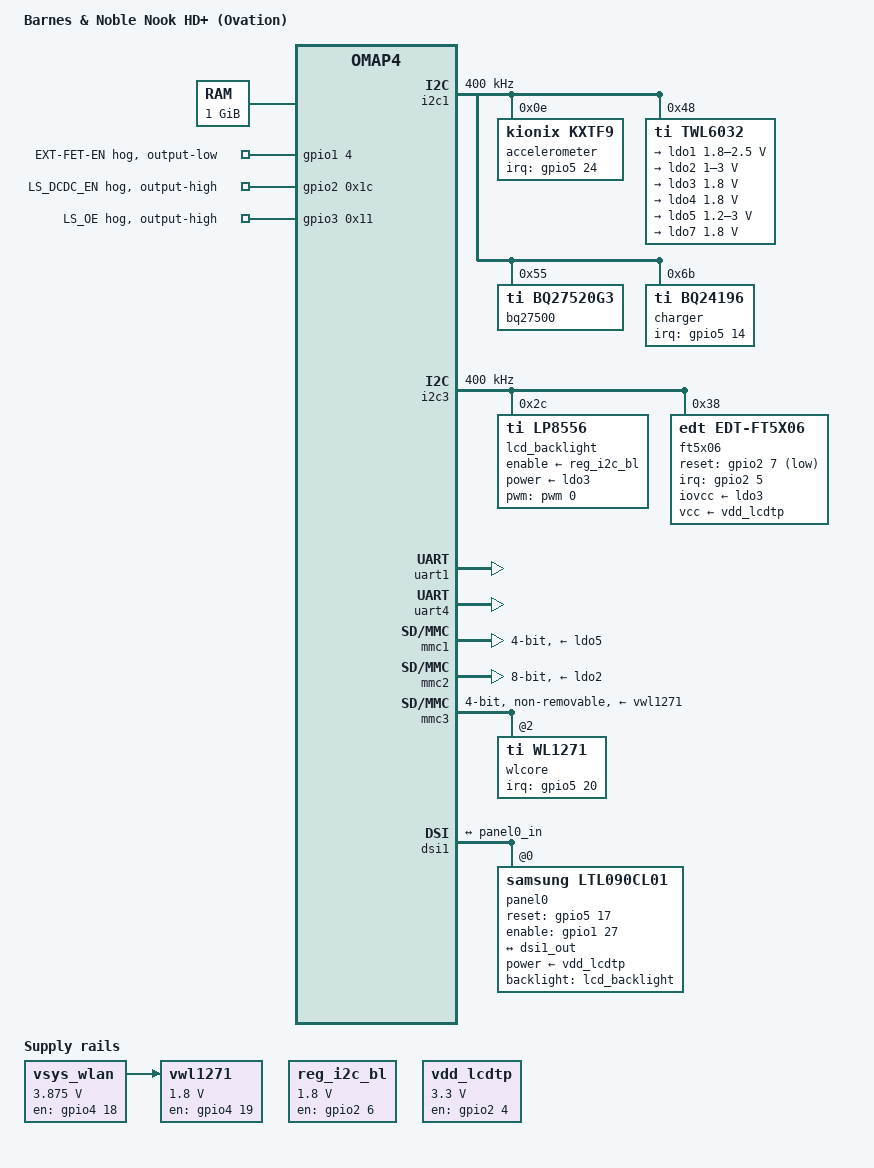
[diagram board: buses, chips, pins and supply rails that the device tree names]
// SPDX-License-Identifier: GPL-2.0-only
/*
 * Device Tree Source for Barnes & Noble Nook HD+ OMAP4470 Tablet
 */
/dts-v1/;

#include <dt-bindings/input/input.h>
#include "omap4470.dtsi"

/ {
	model = "Barnes & Noble Nook HD+ (Ovation)";
	compatible = "barnesnoble,ovation", "ti,omap4470", "ti,omap4";

	chosen {
		bootargs = "console=ttyS0,115200n8 earlyprintk ignore_loglevel root=/dev/ram0 rw init=/init omap_wdt.early_enable=1 omap_wdt.run_in_suspend=1 initrd=0x82000000,6323720";
		stdout-path = &uart1;
	};

	memory@80000000 {
		device_type = "memory";
		reg = <0x80000000 0x40000000>; /* 1GB RAM */
	};

	/* WLAN VSys Regulator */
	vsys_wlan: vsys-wlan {
		pinctrl-names = "default";
		pinctrl-0 = <&wlan_vbat_gpio_pins>;
		compatible = "regulator-fixed";
		regulator-name = "vsys-wlan";
		regulator-min-microvolt = <3875000>;
		regulator-max-microvolt = <3875000>;
		gpio = <&gpio4 18 0>;
		startup-delay-us = <200>;
		enable-active-high;
		regulator-boot-on;
		regulator-always-on;
	};

	/* WLAN Core Voltage Regulator */
	vwl1271: vwl1271 {
		pinctrl-names = "default";
		pinctrl-0 = <&wl12xx_gpio_pins>;
		compatible = "regulator-fixed";
		regulator-name = "vwl1271";
		regulator-min-microvolt = <1800000>;
		regulator-max-microvolt = <1800000>;
		startup-delay-us = <70000>;
		vin-supply = <&vsys_wlan>;
		gpio = <&gpio4 19 0>;
		enable-active-high;
	};

	/* WLAN Power Sequence */
	wl12xx_pwrseq: wl12xx-pwrseq {
		compatible = "mmc-pwrseq-simple";
		clocks = <&twl6032 0x00>;
		clock-names = "ext_clock";
		post-power-on-delay-ms = <100>;
	};

	/* LCD Touch Panel Power Regulator */
	reg_i2c_bl: regulator-i2c-backlight {
		compatible = "regulator-fixed";
		regulator-name = "reg_i2c_bl";
		regulator-min-microvolt = <1800000>;
		regulator-max-microvolt = <1800000>;
		pinctrl-names = "default";
		pinctrl-0 = <&reg_i2c_bl_pins>;
		gpio = <&gpio2 6 0>;
		enable-active-high;
	};

	/* LCD Display Voltage Regulator */
	vdd_lcdtp: vdd-lcdtp {
		compatible = "regulator-fixed";
		regulator-name = "vdd_lcdtp";
		regulator-min-microvolt = <3300000>;
		regulator-max-microvolt = <3300000>;
		pinctrl-names = "default";
		pinctrl-0 = <&reg_vdd_lcdtp_pins>;
		gpio = <&gpio2 4 0>;
		enable-active-high;
		regulator-boot-on;
		regulator-always-on;
	};

	/* TWL6032 PMIC I2C Pullup Configuration */
	i2c3_pullup: i2c3-pullup {
		compatible = "ti,omap4-i2c-pullup";
		syscon = <&omap4_padconf_global>;
		i2c-bus-id = <3>;
		pullups-disabled;
	};
};

&gpio1 {
	pinctrl-names = "default";
	pinctrl-0 = <&gpio1_hog_wkup_pins>;
	ti,no-reset-on-init;

	twl-ext-fet-disable-hog {
		gpio-hog;
		gpios = <4 GPIO_ACTIVE_HIGH>;
		output-low;
		line-name = "EXT-FET-EN";
	};
};

&gpio2 {
	pinctrl-names = "default";
	pinctrl-0 = <&gpio2_hog_pins>;
	ti,no-reset-on-init;

	LS_DCDC_EN {
		gpio-hog;
		gpios = <0x1c GPIO_ACTIVE_HIGH>;
		output-high;
		line-name = "LS_DCDC_EN";
	};
};

&gpio3 {
	pinctrl-names = "default";
	pinctrl-0 = <&gpio3_hog_pins>;
	ti,no-reset-on-init;

	LS_OE {
		gpio-hog;
		gpios = <0x11 GPIO_ACTIVE_HIGH>;
		output-high;
		line-name = "LS_OE";
	};
};

&gpio5 {
	ti,no-reset-on-init;
};

&omap4_pmx_wkup {
	gpio1_hog_wkup_pins: gpio1-hog-wkup-pins {
		pinctrl-single,pins = <0x08 0x03>;
	};

	twl6030_wkup_pins: twl6030-wkup-pins {
		pinctrl-single,pins = <0x14 0x02>;
	};
};

&omap4_pmx_core {
	pinctrl-names = "default";

	/* GPIO2 Hog - GPIO LED/Status */
	gpio2_hog_pins: gpio2-hog-pins {
		pinctrl-single,pins = <0x48 0x03>;
	};

	/* GPIO3 Hog */
	gpio3_hog_pins: gpio3-hog-pins {
		pinctrl-single,pins = <0x7c 0x03>;
	};

	/* UART1 Pins */
	pinmux_uart1_pins: pinmux-uart1-pins {
		pinctrl-single,pins = <0xe6 0x101 0xe8 0x01>;
	};

	/* UART4 Pins */
	uart4_pins: uart4-pins {
		pinctrl-single,pins = <0xd0 0x11d 0xd2 0x05 0x11c 0x100 0x11e 0x00>;
	};

	/* Bluetooth Pins */
	bt_pins: bt-pins {
		pinctrl-single,pins = <0x80 0x03>;
	};

	/* MMC1 SD Card */
	mmc1_pins: mmc1-pins {
		pinctrl-single,pins = <
			0xa2 0x118
			0xa4 0x118
			0xa6 0x118
			0xa8 0x118
			0xaa 0x118
			0xac 0x118
		>;
	};

	/* MMC2 eMMC */
	mmc2_pins: mmc2-pins {
		pinctrl-single,pins = <
			0x00 0x119
			0x02 0x119
			0x04 0x119
			0x06 0x119
			0x08 0x119
			0x0a 0x119
			0x0c 0x119
			0x0e 0x119
			0x42 0x119
			0x44 0x119
		>;
	};

	/* I2C1 for Touchscreen/Other */
	i2c1_pins: i2c1-pins {
		pinctrl-single,pins = <0xe2 0x118 0xe4 0x118>;
	};

	/* TWL Audio Pins */
	twl_audio_pins: twl-audio-pins {
		pinctrl-single,pins = <0xba 0x03>;
	};

	/* Accelerometer (KXTF9) */
	kxtf9_pins: kxtf9-pins {
		pinctrl-single,pins = <0x116 0x103>;
	};

	/* I2C3 for PMIC */
	i2c3_pins: i2c3-pins {
		pinctrl-single,pins = <0xea 0x118 0xec 0x118>;
	};

	/* DSI1 Pins */
	dsi1_pins: dsi1-pins {
		pinctrl-single,pins = <0x108 0x03 0x18e 0x03>;
	};

	/* Touchscreen Panel (FT5x06) */
	ft5x06_pins: ft5x06-pins {
		pinctrl-single,pins = <0x1a 0x103 0x1e 0x03>;
	};

	/* I2C Backlight Enable */
	reg_i2c_bl_pins: reg-i2c-bl-pins {
		pinctrl-single,pins = <0x1c 0x03>;
	};

	/* VDD LCDTP Enable */
	reg_vdd_lcdtp_pins: reg-vdd-lcdtp-pins {
		pinctrl-single,pins = <0x18 0x03>;
	};

	/* MMC3 WIFI */
	mmc3_pins: mmc3-pins {
		pinctrl-single,pins = <
			0xd8 0x119
			0xda 0x119
			0xdc 0x119
			0xde 0x119
			0xc2 0x119
			0xc4 0x119
		>;
	};

	/* WL1271 WIFI Ready */
	wl1271_pins: wl1271-pins {
		pinctrl-single,pins = <0x10e 0x103>;
	};

	/* WLAN GPIO */
	wl12xx_gpio_pins: wl12xx-gpio-pins {
		pinctrl-single,pins = <0xc0 0x03>;
	};

	/* WLAN VBAT GPIO */
	wlan_vbat_gpio_pins: wlan-vbat-gpio-pins {
		pinctrl-single,pins = <0xbe 0x03>;
	};

	/* TWL6030 IRQ */
	twl6030_pins: twl6030-pins {
		pinctrl-single,pins = <0x15e 0x4118>;
	};
};

/* I2C1 - Additional Sensors */
&i2c1 {
	pinctrl-names = "default";
	pinctrl-0 = <&i2c1_pins>;
	clock-frequency = <400000>;

	/* Accelerometer */
	accelerometer: accelerometer@e {
		compatible = "kionix,kxtf9";
		reg = <0x0e>;
		pinctrl-names = "default";
		pinctrl-0 = <&kxtf9_pins>;
		interrupt-parent = <&gpio5>;
		interrupts = <24 1>;
	};

	/* PMIC */
	twl6032: twl@48 {
		compatible = "ti,twl6032";
		reg = <0x48>;
		interrupts = <0 7 4>;
		interrupt-controller;
		#interrupt-cells = <1>;
		system-power-controller;
		#clock-cells = <1>;
		#address-cells = <0x01>;
		#size-cells = <0x00>;
		pinctrl-names = "default";
		pinctrl-0 = <&twl6030_pins &twl6030_wkup_pins>;

		rtc {
			compatible = "ti,twl4030-rtc";
			interrupts = <11>;
		};
	};

	/* Battery Gauge */
	bq27500@55 {
		status = "okay";
		compatible = "ti,bq27520g3";
		reg = <0x55>;
	};

	/* Battery Charger */
	charger@6b {
		status = "okay";
		compatible = "ti,bq24196";
		reg = <0x6b>;
		interrupt-parent = <&gpio5>;
		interrupts = <14 2>;
		omit-battery-class;
		ti,system-minimum-microvolt = <3400000>;
	};
};

&i2c2 {
	status = "disabled";
};

/* I2C3 - PMIC and Sensors */
&i2c3 {
	status = "okay";
	pinctrl-names = "default";
	pinctrl-0 = <&i2c3_pins>;
	clock-frequency = <400000>;

	/* LCD Backlight Controller */
	lcd_backlight: lcd-backlight@2c {
		compatible = "ti,lp8556";
		reg = <0x2c>;
		enable-supply = <&reg_i2c_bl>;
		power-supply = <&ldo3>;
		pwms = <&pwm 0 144592>;
		pwm-names = "lp8556";
		dev-ctrl = [02];
		init-brt = [3f];

		rom-a4h {
			rom-addr = [a4];
			rom-val = [02];
		};

		rom-a5h {
			rom-addr = [a5];
			rom-val = [14];
		};

		rom-a6h {
			rom-append;
			rom-addr = [a6];
			rom-val = [40];
			rom-mask = [3f];
		};

		rom-a7h {
			rom-addr = [a7];
			rom-val = [fd];
		};

		rom-a9h {
			rom-addr = [a9];
			rom-val = [80];
		};
	};

	/* Touchscreen Controller */
	ft5x06: touchscreen@38 {
		compatible = "edt,edt-ft5x06";
		reg = <0x38>;
		pinctrl-names = "default";
		pinctrl-0 = <&ft5x06_pins>;
		iovcc-supply = <&ldo3>;
		vcc-supply = <&vdd_lcdtp>;
		interrupt-parent = <&gpio2>;
		interrupts = <5 2>;
		reset-gpios = <&gpio2 7 1>;
		touchscreen-size-x = <1080>;
		touchscreen-size-y = <1920>;
		touchscreen-inverted-y;
		touchscreen-swapped-x-y;
	};
};

/* UART1 - Debug/Console */
&uart1 {
	pinctrl-names = "default";
	pinctrl-0 = <&pinmux_uart1_pins>;
	status = "okay";
};

/* UART3 - Bluetooth */
/*&uart3 {
	status = "okay";
	pinctrl-names = "default";
	pinctrl-0 = <&uart3_pins>;
};*/

/* UART4 */
&uart4 {
	status = "okay";
	pinctrl-names = "default";
	pinctrl-0 = <&uart4_pins>;
};

/* MMC1 - SD Card Slot */
&mmc1 {
	status = "okay";
	pinctrl-names = "default";
	pinctrl-0 = <&mmc1_pins>;
	vmmc-supply = <&ldo5>;
	mmc-ddr-1_8v;
	bus-width = <4>;
	broken-cd;
	no-sdio;
	no-mmc;
};

/* MMC2 - eMMC Storage */
&mmc2 {
	status = "okay";
	pinctrl-names = "default";
	pinctrl-0 = <&mmc2_pins>;
	vmmc-supply = <&ldo2>;
	ti,non-removable;
	cap-mmc-highspeed;
	mmc-ddr-1_8v;
	bus-width = <8>;
	no-sd;
	no-sdio;
};

/* MMC3 - WLAN Module */
&mmc3 {
	#address-cells = <0x01>;
	#size-cells = <0x00>;
	status = "okay";
	pinctrl-names = "default";
	pinctrl-0 = <&mmc3_pins>;
	vmmc-supply = <&vwl1271>;
	mmc-pwrseq = <&wl12xx_pwrseq>;
	no-sd;
	no-mmc;
	non-removable;
	cap-power-off-card;
	keep-power-in-suspend;
	bus-width = <4>;

	wlcore: wlcore@2 {
		compatible = "ti,wl1271";
		reg = <2>;
		pinctrl-names = "default";
		pinctrl-0 = <&wl1271_pins>;
		interrupt-parent = <&gpio5>;
		interrupts = <20 4>;
		interrupt-names = "irq";
		ref-clock-frequency = <38400000>;
		tcxo-clock-frequency = <38400000>;
	};
};

&mmc4 {
	status = "disabled";
};

&i2c4 {
	status = "disabled";
};

/*
 * WDT3 (IVA3 watchdog) only interrupts the MPU; its reset outputs are
 * unused. WDT2 is the one that resets the board.
 */
&wdt3 {
	status = "disabled";
};

/*
 * Suspend debugging: ti-sysc stops WDT2 when it idles the module in noirq
 * suspend, so without this a hang late in suspend or in resume is never
 * reset. Together with omap_wdt.run_in_suspend=1 in bootargs. Drop both once
 * suspend works.
 */
&{/ocp/interconnect@4a300000/segment@10000/target-module@4000} {
	ti,no-idle;
};

&twl6032 {
	compatible = "ti,twl6032";
	interrupts = <0 7 4>;
	interrupt-controller;
	#interrupt-cells = <1>;
	system-power-controller;
	#clock-cells = <1>;

	/* LDO1 - 1.8V for MMC Card */
	ldo1: regulator-ldo1 {
		compatible = "ti,twl6032-ldo1";
		// regulator-name = "ldo1";
		regulator-min-microvolt = <1800000>;
		regulator-max-microvolt = <2500000>;

		regulator-state-mem {
			regulator-off-in-suspend;
		};
	};

	/* LDO2 - Variable voltage supply */
	ldo2: regulator-ldo2 {
		compatible = "ti,twl6032-ldo2";
		// regulator-name = "ldo2";
		regulator-min-microvolt = <1000000>;
		regulator-max-microvolt = <3000000>;
		regulator-always-on;

		regulator-state-mem {
			regulator-off-in-suspend;
			regulator-ignore-initial-state;
		};
	};

	/* LDO3 - 1.8V Fixed */
	ldo3: regulator-ldo3 {
		compatible = "ti,twl6032-ldo3";
		// regulator-name = "ldo3";
		regulator-min-microvolt = <1800000>;
		regulator-max-microvolt = <1800000>;
		regulator-initial-state = <0>;
		regulator-boot-on;

		regulator-state-mem {
			regulator-off-in-suspend;
			regulator-ignore-initial-state;
		};
	};

	/* LDO4 - 1.8V for Sensor/Touch */
	ldo4: regulator-ldo4 {
		compatible = "ti,twl6032-ldo4";
		// regulator-name = "ldo4";
		regulator-min-microvolt = <1800000>;
		regulator-max-microvolt = <1800000>;

		regulator-state-mem {
			regulator-off-in-suspend;
			regulator-ignore-initial-state;
		};
	};

	/* LDO5 - Variable voltage for sensors */
	ldo5: regulator-ldo5 {
		compatible = "ti,twl6032-ldo5";
		// regulator-name = "ldo5";
		regulator-min-microvolt = <1200000>;
		regulator-max-microvolt = <3000000>;
		regulator-boot-on;

		regulator-state-mem {
			regulator-off-in-suspend;
			regulator-ignore-initial-state;
		};
	};

	/* LDO6 - Core voltage */
	ldo6: regulator-ldo6 {
		compatible = "ti,twl6032-ldo6";
		// regulator-name = "ldo6";
		regulator-always-on;
		regulator-initial-state = <0>;

		regulator-state-mem {
			regulator-off-in-suspend;
			regulator-ignore-initial-state;
		};
	};

	/* LDO7 - 1.8V Always On */
	ldo7: regulator-ldo7 {
		compatible = "ti,twl6032-ldo7";
		// regulator-name = "ldo7";
		regulator-min-microvolt = <1800000>;
		regulator-max-microvolt = <1800000>;
		regulator-always-on;
		regulator-boot-on;
		regulator-state-mem;
	};

	/* LDOLN - Core line */
	ldoln: regulator-ldoln {
		compatible = "ti,twl6032-ldoln";
		// regulator-name = "ldoln";
		regulator-always-on;

		regulator-state-mem {
			regulator-off-in-suspend;
		};
	};

	/* LDOUSB - USB PHY supply */
	ldousb: regulator-ldousb {
		compatible = "ti,twl6032-ldousb";
		// regulator-name = "ldousb";

		regulator-state-mem {
			regulator-off-in-suspend;
		};
	};

	/* VANA - Analog supply */
	vana: regulator-vana {
		compatible = "ti,twl6030-vana";
		// regulator-name = "vana";
		regulator-always-on;

		regulator-state-mem {
			regulator-off-in-suspend;
		};
	};

	/* USB Interface */
	usb {
		compatible = "ti,twl6030-usb";
		interrupts = <4 10>;
		usb-supply = <&ldousb>;
	};

	/* PWM for LED/Backlight */
	pwm: pwm {
		compatible = "ti,twl6030-pwm";
		#pwm-cells = <2>;
	};

	/* PWM LED Controller */
	pwmled {
		compatible = "ti,twl6030-pwmled";
		#pwm-cells = <2>;
	};

	/* Power Button */
	pwrbutton {
		compatible = "ti,twl6030-pwrbutton";
		interrupts = <0>;
	};

	/* GPADC - General Purpose ADC */
	gpadc {
		compatible = "ti,twl6032-gpadc";
		#io-channel-cells = <1>;
		interrupts = <3>;
	};

	/* Audio Codec */
	audio-codec@4c {
		pinctrl-names = "default";
		pinctrl-0 = <&twl_audio_pins>;
		compatible = "ti,twl6041";
		reg = <0x4c>;
		interrupts = <0 0x77 0x04>;
		ti,audpwron-gpio = <&gpio4 16 0>;
	};
};

/* DSI1 LCD Panel Configuration */
&dsi1 {
	status = "okay";
	vdd-supply = <&vdd_lcdtp>;
	pinctrl-names = "default";
	pinctrl-0 = <&dsi1_pins>;

	port {
		dsi1_out: endpoint {
			remote-endpoint = <&panel0_in>;
			lanes = <0 1 2 3 4>;
		};
	};

	panel@0 {
		compatible = "samsung,ltl090cl01";
		reg = <0>;
		label = "panel0";
		status = "okay";
		power-supply = <&vdd_lcdtp>;
		reset-gpios = <&gpio5 17 0>;
		enable-gpios = <&gpio1 27 0>;
		backlight = <&lcd_backlight>;

		port {
			panel0_in: endpoint {
				remote-endpoint = <&dsi1_out>;
			};
		};
	};
};
